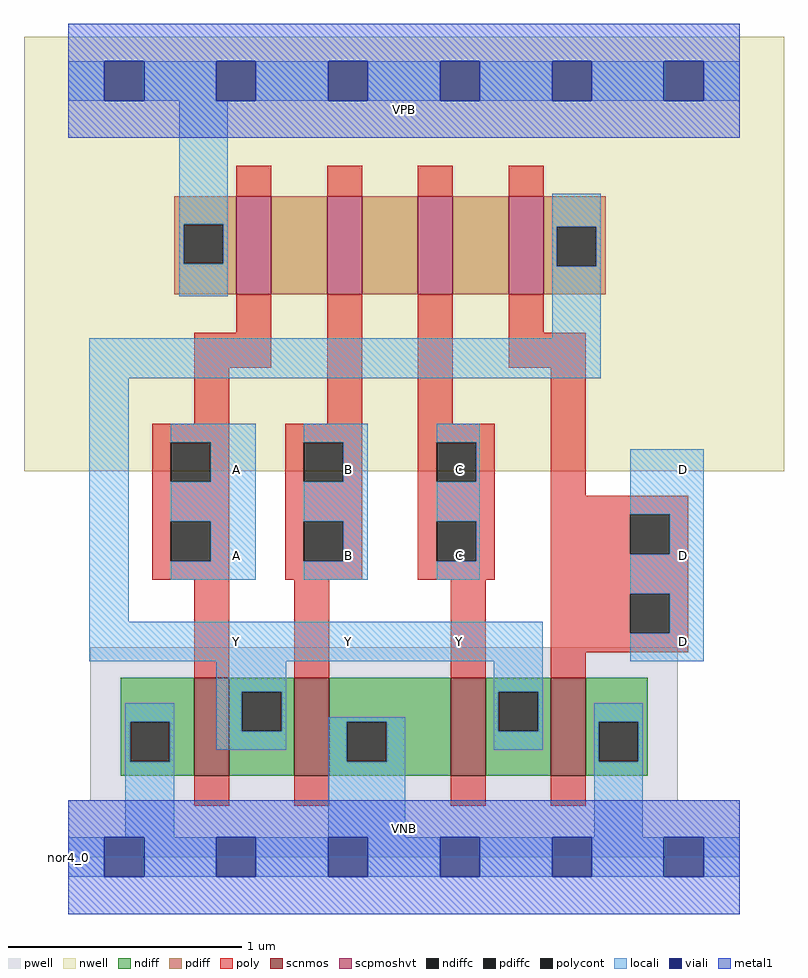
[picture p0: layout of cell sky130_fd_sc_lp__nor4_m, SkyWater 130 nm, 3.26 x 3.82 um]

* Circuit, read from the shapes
.subckt sky130_fd_sc_lp__nor4_m A B C D VGND VNB VPB VPWR Y
XM1 Y A VGND VNB sky130_fd_pr__nfet_01v8 w=0.42 l=0.15
XM2 VGND B Y VNB sky130_fd_pr__nfet_01v8 w=0.42 l=0.15
XM3 Y C VGND VNB sky130_fd_pr__nfet_01v8 w=0.42 l=0.15
XM4 VGND D Y VNB sky130_fd_pr__nfet_01v8 w=0.42 l=0.15
XM5 n1 A VPWR VPB sky130_fd_pr__pfet_01v8_hvt w=0.42 l=0.15
XM6 n2 B n1 VPB sky130_fd_pr__pfet_01v8_hvt w=0.42 l=0.15
XM7 n3 C n2 VPB sky130_fd_pr__pfet_01v8_hvt w=0.42 l=0.15
XM8 Y D n3 VPB sky130_fd_pr__pfet_01v8_hvt w=0.42 l=0.15
.ends

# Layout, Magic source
magic
tech sky130A
magscale 1 2
<< nwell >>
rect -38 331 614 704
<< pwell >>
rect 19 49 523 180
rect 0 0 576 49
<< scnmos >>
rect 108 70 138 154
rect 194 70 224 154
rect 328 70 358 154
rect 414 70 444 154
<< scpmoshvt >>
rect 144 483 174 567
rect 222 483 252 567
rect 300 483 330 567
rect 378 483 408 567
<< ndiff >>
rect 45 116 108 154
rect 45 82 53 116
rect 87 82 108 116
rect 45 70 108 82
rect 138 142 194 154
rect 138 108 149 142
rect 183 108 194 142
rect 138 70 194 108
rect 224 116 328 154
rect 224 82 239 116
rect 273 82 328 116
rect 224 70 328 82
rect 358 142 414 154
rect 358 108 369 142
rect 403 108 414 142
rect 358 70 414 108
rect 444 116 497 154
rect 444 82 455 116
rect 489 82 497 116
rect 444 70 497 82
<< pdiff >>
rect 91 543 144 567
rect 91 509 99 543
rect 133 509 144 543
rect 91 483 144 509
rect 174 483 222 567
rect 252 483 300 567
rect 330 483 378 567
rect 408 541 461 567
rect 408 507 419 541
rect 453 507 461 541
rect 408 483 461 507
<< ndiffc >>
rect 53 82 87 116
rect 149 108 183 142
rect 239 82 273 116
rect 369 108 403 142
rect 455 82 489 116
<< pdiffc >>
rect 99 509 133 543
rect 419 507 453 541
<< poly >>
rect 144 567 174 593
rect 222 567 252 593
rect 300 567 330 593
rect 378 567 408 593
rect 144 450 174 483
rect 108 420 174 450
rect 108 372 138 420
rect 222 372 252 483
rect 72 356 138 372
rect 72 322 88 356
rect 122 322 138 356
rect 72 288 138 322
rect 72 254 88 288
rect 122 254 138 288
rect 72 238 138 254
rect 186 356 252 372
rect 186 322 202 356
rect 236 322 252 356
rect 186 288 252 322
rect 186 254 202 288
rect 236 254 252 288
rect 186 238 252 254
rect 300 372 330 483
rect 378 450 408 483
rect 378 420 444 450
rect 300 356 366 372
rect 300 322 316 356
rect 350 322 366 356
rect 300 288 366 322
rect 300 254 316 288
rect 350 254 366 288
rect 300 238 366 254
rect 414 310 444 420
rect 414 294 532 310
rect 414 260 482 294
rect 516 260 532 294
rect 108 154 138 238
rect 194 154 224 238
rect 328 154 358 238
rect 414 226 532 260
rect 414 192 482 226
rect 516 192 532 226
rect 414 176 532 192
rect 414 154 444 176
rect 108 44 138 70
rect 194 44 224 70
rect 328 44 358 70
rect 414 44 444 70
<< polycont >>
rect 88 322 122 356
rect 88 254 122 288
rect 202 322 236 356
rect 202 254 236 288
rect 316 322 350 356
rect 316 254 350 288
rect 482 260 516 294
rect 482 192 516 226
<< locali >>
rect 0 649 31 683
rect 65 649 127 683
rect 161 649 223 683
rect 257 649 319 683
rect 353 649 415 683
rect 449 649 511 683
rect 545 649 576 683
rect 95 543 137 649
rect 95 509 99 543
rect 133 509 137 543
rect 95 481 137 509
rect 415 541 457 569
rect 415 507 419 541
rect 453 507 457 541
rect 415 445 457 507
rect 18 411 457 445
rect 18 202 52 411
rect 88 356 161 372
rect 122 322 161 356
rect 88 288 161 322
rect 122 254 161 288
rect 88 238 161 254
rect 202 356 257 372
rect 236 322 257 356
rect 202 288 257 322
rect 236 254 257 288
rect 202 238 257 254
rect 316 356 353 372
rect 350 322 353 356
rect 316 288 353 322
rect 350 254 353 288
rect 316 238 353 254
rect 482 294 545 350
rect 516 260 545 294
rect 482 226 545 260
rect 18 168 407 202
rect 516 192 545 226
rect 482 168 545 192
rect 127 142 187 168
rect 49 116 91 132
rect 49 82 53 116
rect 87 82 91 116
rect 127 108 149 142
rect 183 108 187 142
rect 365 142 407 168
rect 127 92 187 108
rect 223 116 289 120
rect 49 17 91 82
rect 223 82 239 116
rect 273 82 289 116
rect 365 108 369 142
rect 403 108 407 142
rect 365 92 407 108
rect 451 116 493 132
rect 223 17 289 82
rect 451 82 455 116
rect 489 82 493 116
rect 451 17 493 82
rect 0 -17 31 17
rect 65 -17 127 17
rect 161 -17 223 17
rect 257 -17 319 17
rect 353 -17 415 17
rect 449 -17 511 17
rect 545 -17 576 17
<< viali >>
rect 31 649 65 683
rect 127 649 161 683
rect 223 649 257 683
rect 319 649 353 683
rect 415 649 449 683
rect 511 649 545 683
rect 31 -17 65 17
rect 127 -17 161 17
rect 223 -17 257 17
rect 319 -17 353 17
rect 415 -17 449 17
rect 511 -17 545 17
<< metal1 >>
rect 0 683 576 715
rect 0 649 31 683
rect 65 649 127 683
rect 161 649 223 683
rect 257 649 319 683
rect 353 649 415 683
rect 449 649 511 683
rect 545 649 576 683
rect 0 617 576 649
rect 0 17 576 49
rect 0 -17 31 17
rect 65 -17 127 17
rect 161 -17 223 17
rect 257 -17 319 17
rect 353 -17 415 17
rect 449 -17 511 17
rect 545 -17 576 17
rect 0 -49 576 -17
<< labels >>
flabel pwell s 0 0 576 49 0 FreeSans 200 0 0 0 VNB
port 6 nsew ground bidirectional
flabel nwell s 0 617 576 666 0 FreeSans 200 0 0 0 VPB
port 7 nsew power bidirectional
rlabel comment s 0 0 0 0 4 nor4_0
flabel metal1 s 0 617 576 666 0 FreeSans 340 0 0 0 VPWR
port 8 nsew power bidirectional
flabel metal1 s 0 0 576 49 0 FreeSans 340 0 0 0 VGND
port 5 nsew ground bidirectional
flabel locali s 127 242 161 276 0 FreeSans 340 0 0 0 A
port 1 nsew signal input
flabel locali s 127 316 161 350 0 FreeSans 340 0 0 0 A
port 1 nsew signal input
flabel locali s 511 168 545 202 0 FreeSans 340 0 0 0 D
port 4 nsew signal input
flabel locali s 511 242 545 276 0 FreeSans 340 0 0 0 D
port 4 nsew signal input
flabel locali s 511 316 545 350 0 FreeSans 340 0 0 0 D
port 4 nsew signal input
flabel locali s 127 168 161 202 0 FreeSans 340 0 0 0 Y
port 9 nsew signal output
flabel locali s 223 168 257 202 0 FreeSans 340 0 0 0 Y
port 9 nsew signal output
flabel locali s 319 168 353 202 0 FreeSans 340 0 0 0 Y
port 9 nsew signal output
flabel locali s 223 242 257 276 0 FreeSans 340 0 0 0 B
port 2 nsew signal input
flabel locali s 223 316 257 350 0 FreeSans 340 0 0 0 B
port 2 nsew signal input
flabel locali s 319 242 353 276 0 FreeSans 340 0 0 0 C
port 3 nsew signal input
flabel locali s 319 316 353 350 0 FreeSans 340 0 0 0 C
port 3 nsew signal input
<< properties >>
string LEFsite unit
string LEFclass CORE
string FIXED_BBOX 0 0 576 666
string GDS_FILE $PDKPATH/libs.ref/sky130_fd_sc_lp/gds/sky130_fd_sc_lp.gds
string LEFsymmetry X Y R90
string GDS_END 4345846
string GDS_START 4340034
<< end >>
